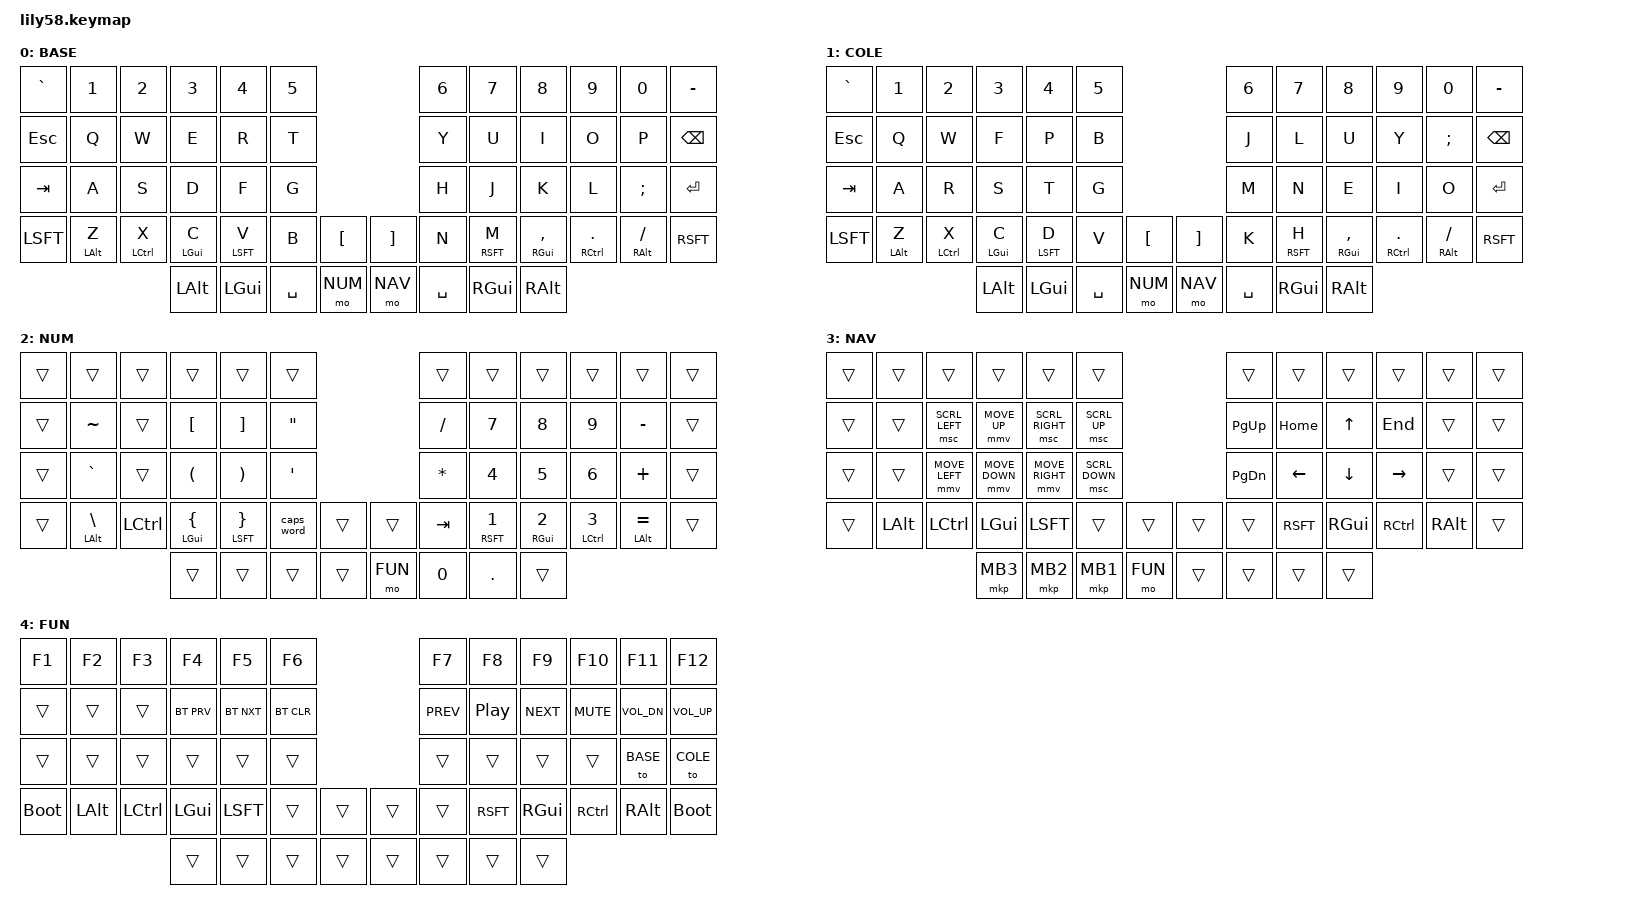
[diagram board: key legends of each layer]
#include <behaviors.dtsi>
#include <dt-bindings/zmk/bt.h>
#include <dt-bindings/zmk/keys.h>
#include <dt-bindings/zmk/pointing.h>

/*  0  1  2  3  4  5        6  7  8  9 10 11 */
/* 12 13 14 15 16 17       18 19 20 21 22 23 */
/* 24 25 26 27 28 29       30 31 32 33 34 35 */
/* 36 37 38 39 40 41 42 43 44 45 46 47 48 49 */
/*          50 51 52 53 54 55 56 57          */

#define LH_KEYS  0  1  2  3  4  5 \
                12 13 14 15 16 17 \
                24 25 26 27 28 29 \
                36 37 38 39 40 41 42

#define RH_KEYS     6  7  8  9 10 11 \
                   18 19 20 21 22 23 \
                   30 31 32 33 34 35 \
                43 44 45 46 47 48 49

#define T_KEYS 50 51 52 53 54 55 56 57

#define BASE 0
#define COLE 1
#define NUM 2
#define NAV 3
#define FUN 4

/ {
    behaviors {
      bml: bottom_mod_left {
        compatible = "zmk,behavior-hold-tap";
        #binding-cells = <2>;
        flavor = "balanced";
        require-prior-idle-ms = <150>;
        tapping-term-ms = <280>;
        quick-tap-ms = <175>;
        bindings = <&kp>, <&kp>;
        hold-trigger-key-positions = <RH_KEYS T_KEYS>;
        hold-trigger-on-release;
      };
      bmr: bottom_mod_right {
        compatible = "zmk,behavior-hold-tap";
        #binding-cells = <2>;
        flavor = "balanced";
        require-prior-idle-ms = <150>;
        tapping-term-ms = <280>;
        quick-tap-ms = <175>;
        bindings = <&kp>, <&kp>;
        hold-trigger-key-positions = <LH_KEYS T_KEYS>;
        hold-trigger-on-release;
      };
    };
    combos {
      compatible = "zmk,combos";
      combo_esc {
          timeout-ms = <45>;
          key-positions = <13 14>;
          bindings = <&kp ESC>;
      };
      combo_tab {
          timeout-ms = <45>;
          key-positions = <37 38>;
          bindings = <&kp TAB>;
      };
      combo_bspc {
          timeout-ms = <45>;
          key-positions = <21 22>;
          bindings = <&kp BSPC>;
      };
      combo_ret {
          timeout-ms = <45>;
          key-positions = <47 48>;
          bindings = <&kp RET>;
      };
    };

    keymap {
        compatible = "zmk,keymap";
        default_layer {
            display-name = "BASE";
            bindings = <
              &kp GRAVE       &kp N1          &kp N2          &kp N3          &kp N4          &kp N5                                          &kp N6          &kp N7          &kp N8          &kp N9          &kp N0          &kp MINUS
              &kp ESC         &kp Q           &kp W           &kp E           &kp R           &kp T                                           &kp Y           &kp U           &kp I           &kp O           &kp P           &kp BSPC
              &kp TAB         &kp A           &kp S           &kp D           &kp F           &kp G                                           &kp H           &kp J           &kp K           &kp L           &kp SEMI        &kp RET
              &kp LSFT        &bml LALT Z     &bml LCTL X     &bml  LGUI C    &bml LSFT V     &kp B           &kp LBKT        &kp RBKT        &kp N           &bmr RSFT M     &bmr RGUI COMMA &bmr RCTL DOT   &bmr RALT FSLH  &kp RSFT
                                                              &kp LALT        &kp LGUI        &kp SPACE       &mo NUM         &mo NAV         &kp SPACE       &kp RGUI        &kp RALT
            >;
        };

        colemak_dh_layer {
            display-name = "COLE";
            bindings = <
              &kp GRAVE       &kp N1          &kp N2          &kp N3          &kp N4          &kp N5                                          &kp N6          &kp N7          &kp N8          &kp N9          &kp N0          &kp MINUS
              &kp ESC         &kp Q           &kp W           &kp F           &kp P           &kp B                                           &kp J           &kp L           &kp U           &kp Y           &kp SEMI        &kp BSPC
              &kp TAB         &kp A           &kp R           &kp S           &kp T           &kp G                                           &kp M           &kp N           &kp E           &kp I           &kp O           &kp RET
              &kp LSFT        &bml LALT Z     &bml LCTL X     &bml LGUI C     &bml LSFT D     &kp V           &kp LBKT        &kp RBKT        &kp K           &bmr RSFT H     &bmr RGUI COMMA &bmr RCTL DOT   &bmr RALT FSLH  &kp RSFT
                                                              &kp LALT        &kp LGUI        &kp SPACE       &mo NUM         &mo NAV         &kp SPACE       &kp RGUI        &kp RALT
            >;
        };

        number_layer {
            display-name = "NUM";
            bindings = <
               &trans          &trans          &trans          &trans          &trans          &trans                                          &trans          &trans          &trans          &trans          &trans          &trans
               &trans          &kp TILDE       &trans          &kp LBKT        &kp RBKT        &kp DQT                                         &kp FSLH        &kp N7          &kp N8          &kp N9          &kp MINUS       &trans
               &trans          &kp GRAVE       &trans          &kp LPAR        &kp RPAR        &kp SQT                                         &kp STAR        &kp N4          &kp N5          &kp N6          &kp PLUS        &trans
               &trans          &bml LALT BSLH  &kp LCTL        &bml LGUI LBRC  &bml LSFT RBRC  &caps_word      &trans          &trans          &kp TAB         &bmr RSFT N1    &bmr RGUI N2    &bmr LCTL N3    &bmr LALT EQUAL &trans
                                                               &trans          &trans          &trans          &trans          &mo FUN         &kp N0          &kp DOT         &trans
            >;
        };

        navigation_layer {
            display-name = "NAV";
            bindings = <
               &trans          &trans          &trans          &trans          &trans          &trans                                          &trans          &trans          &trans          &trans          &trans          &trans
               &trans          &trans          &msc SCRL_LEFT  &mmv MOVE_UP    &msc SCRL_RIGHT &msc SCRL_UP                                    &kp PG_UP       &kp HOME        &kp UP          &kp END         &trans          &trans
               &trans          &trans          &mmv MOVE_LEFT  &mmv MOVE_DOWN  &mmv MOVE_RIGHT &msc SCRL_DOWN                                  &kp PG_DN       &kp LEFT        &kp DOWN        &kp RIGHT       &trans          &trans
               &trans          &kp LALT        &kp LCTL        &kp LGUI        &kp LSFT        &trans          &trans          &trans          &trans          &kp RSFT        &kp RGUI        &kp RCTL        &kp RALT        &trans
                                                               &mkp MB3        &mkp MB2        &mkp MB1        &mo FUN         &trans          &trans          &trans          &trans
            >;
        };

        function_layer {
            display-name = "FUN";
            bindings = <
               &kp F1          &kp F2          &kp F3          &kp F4          &kp F5          &kp F6                                          &kp F7          &kp F8          &kp F9          &kp F10         &kp F11         &kp F12
               &trans          &trans          &trans          &bt BT_PRV      &bt BT_NXT      &bt BT_CLR                                      &kp C_PREV      &kp C_PP        &kp C_NEXT      &kp C_MUTE      &kp C_VOL_DN    &kp C_VOL_UP
               &trans          &trans          &trans          &trans          &trans          &trans                                          &trans          &trans          &trans          &trans          &to BASE        &to COLE
               &bootloader     &kp LALT        &kp LCTL        &kp LGUI        &kp LSFT        &trans          &trans          &trans          &trans          &kp RSFT        &kp RGUI        &kp RCTL        &kp RALT        &bootloader
                                                               &trans          &trans          &trans          &trans          &trans          &trans          &trans          &trans
            >;
        };

        extra_1 { status = "reserved"; };

        extra_2 { status = "reserved"; };

        extra_3 { status = "reserved"; };
    };
};
